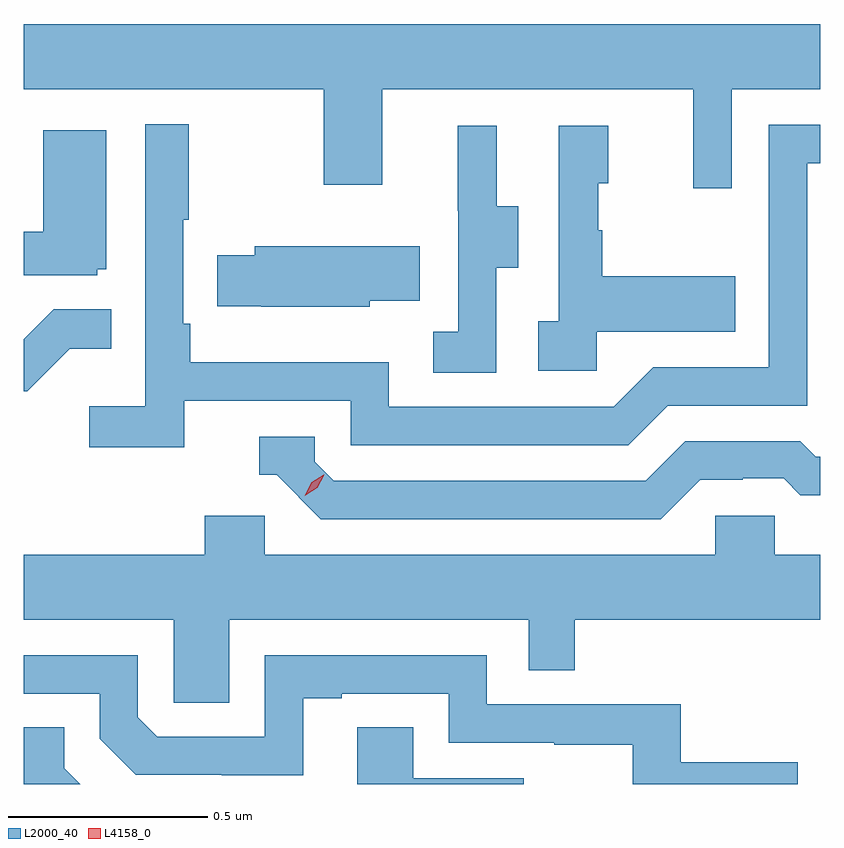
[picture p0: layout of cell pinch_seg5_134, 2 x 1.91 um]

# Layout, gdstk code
import gdstk
lib = gdstk.Library(unit=1e-6, precision=1e-09)
def P(c, l, *ps):  # polygons
    for p in ps: c.add(gdstk.Polygon(p, *l))
L2000_40 = (2000, 40)
L4158_0 = (4158, 0)

pinch_seg5_134 = lib.new_cell('pinch_seg5_134')
P(pinch_seg5_134, L2000_40, [(1058.403,888.728),(1058.625,888.728),(1058.625,888.892),(1056.625,888.892),(1056.625,888.728),(1057.378,888.728),(1057.378,888.489),(1057.525,888.489),(1057.525,888.728),(1058.306,888.728),(1058.306,888.48),(1058.403,888.48)],
  [(1057.028,887.946),(1057.446,887.946),(1057.446,887.835),(1058.143,887.835),(1058.242,887.934),(1058.592,887.934),(1058.592,888.543),(1058.625,888.543),(1058.625,888.639),(1058.496,888.639),(1058.496,888.03),(1058.205,888.03),(1058.106,887.931),(1057.542,887.931),(1057.542,888.043),(1057.043,888.043),(1057.043,888.139),(1057.026,888.139),(1057.026,888.4),(1057.039,888.4),(1057.039,888.64),(1056.93,888.64),(1056.93,887.932),(1056.789,887.932),(1056.789,887.83),(1057.028,887.83)],
  [(1057.812,888.28),(1057.867,888.28),(1057.867,888.435),(1057.813,888.435),(1057.813,888.637),(1057.715,888.637),(1057.715,888.423),(1057.716,888.423),(1057.716,888.119),(1057.653,888.119),(1057.653,888.016),(1057.812,888.016)],
  [(1058.064,888.119),(1058.411,888.119),(1058.411,888.259),(1058.077,888.259),(1058.077,888.374),(1058.067,888.374),(1058.067,888.492),(1058.092,888.492),(1058.092,888.637),(1057.968,888.637),(1057.968,888.146),(1057.917,888.146),(1057.917,888.021),(1058.064,888.021)],
  [(1056.81,888.276),(1056.832,888.276),(1056.832,888.625),(1056.674,888.625),(1056.674,888.37),(1056.625,888.37),(1056.625,888.261),(1056.81,888.261)],
  [(1057.494,888.197),(1057.619,888.197),(1057.619,888.334),(1057.205,888.334),(1057.205,888.312),(1057.111,888.312),(1057.111,888.183),(1057.222,888.183),(1057.222,888.182),(1057.494,888.182)],
  [(1056.741,888.077),(1056.845,888.077),(1056.845,888.176),(1056.701,888.176),(1056.625,888.1),(1056.625,887.97),(1056.634,887.97)],
  [(1058.323,887.748),(1058.43,887.748),(1058.43,887.751),(1058.533,887.751),(1058.575,887.709),(1058.625,887.709),(1058.625,887.805),(1058.614,887.805),(1058.575,887.844),(1058.286,887.844),(1058.187,887.745),(1057.404,887.745),(1057.356,887.793),(1057.356,887.856),(1057.217,887.856),(1057.217,887.76),(1057.26,887.76),(1057.371,887.649),(1058.224,887.649)],
  [(1057.141,887.396),(1057.893,887.396),(1057.893,887.269),(1058.009,887.269),(1058.009,887.396),(1058.625,887.396),(1058.625,887.56),(1058.511,887.56),(1058.511,887.658),(1058.361,887.658),(1058.361,887.56),(1057.23,887.56),(1057.23,887.658),(1057.079,887.658),(1057.079,887.56),(1056.625,887.56),(1056.625,887.396),(1057.002,887.396),(1057.002,887.188),(1057.141,887.188)],
  [(1058.568,887.038),(1058.275,887.038),(1058.275,887.184),(1057.788,887.184),(1057.788,887.307),(1057.23,887.307),(1057.23,887.103),(1056.96,887.103),(1056.912,887.151),(1056.912,887.307),(1056.625,887.307),(1056.625,887.211),(1056.816,887.211),(1056.816,887.097),(1056.906,887.007),(1057.122,887.007),(1057.122,887.006),(1057.327,887.006),(1057.327,887.199),(1057.423,887.199),(1057.423,887.211),(1057.692,887.211),(1057.692,887.088),(1057.957,887.088),(1057.957,887.083),(1058.154,887.083),(1058.154,886.984),(1058.568,886.984)],
  [(1057.88,886.998),(1057.603,886.998),(1057.603,887.126),(1057.463,887.126),(1057.463,886.984),(1057.88,886.984)],
  [(1056.727,887.024),(1056.727,887.126),(1056.625,887.126),(1056.625,886.984),(1056.767,886.984)])
P(pinch_seg5_134, L4158_0, [(1057.331,887.708),(1057.331,887.708),(1057.348,887.741),(1057.378,887.76),(1057.379,887.76),(1057.379,887.76),(1057.362,887.728),(1057.331,887.708)])

lib.write_gds('pinch_seg5_134.gds')
